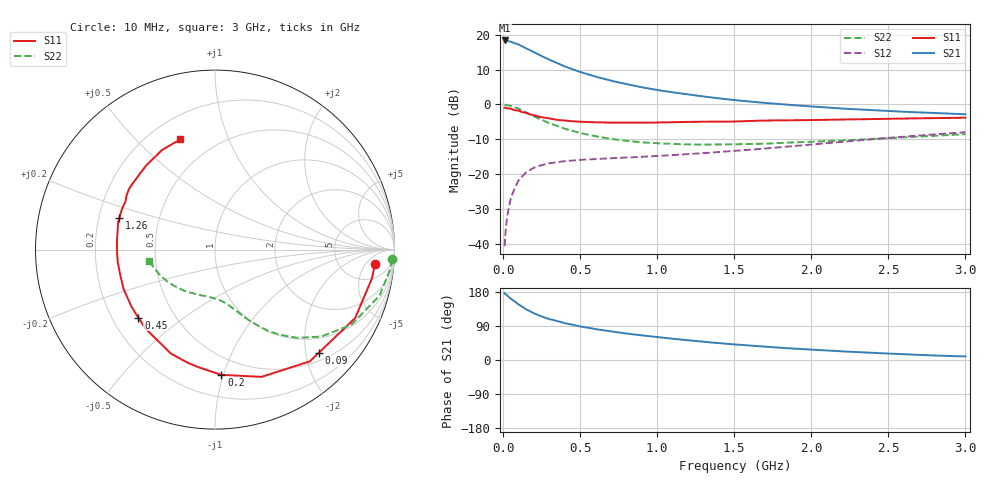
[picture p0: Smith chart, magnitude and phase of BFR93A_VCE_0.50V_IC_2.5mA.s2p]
! (c) 2015  Infineon Technologies AG, Munich
! Infineon Technologies  Discrete & RF Semiconductors
! BFR93A
! VCE = 0.50 V,  IC =  2.5 mA
! Common Emitter S-Parameters:  Nov 2015
# GHz  S  MA  R  50
!  f  S11  S21  S12  S22
! GHz  MAG  ANG  MAG  ANG  MAG  ANG  MAG  ANG
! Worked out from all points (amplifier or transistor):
!   180 points, 10 MHz to 3 GHz, reference 50 ohm
!   highest |S21| = 18.3 dB at 10 MHz (marker M1)
!   |S21| within 3 dB of that: start of sweep to 183.8 MHz
!   unconditionally stable (mu >= 1): 851.3 MHz to end of sweep
!   at 160 MHz: K = 0.24, MSG = 17.6 dB, |S12| = -19.3 dB
!   at 1.22 GHz: K = 1.19, MAG = 5.8 dB, |S12| = -14.2 dB
!   at 3 GHz: K = 1.09, MAG = 0.8 dB, |S12| = -8.0 dB
!   S11 on the Smith chart (normalised r, x): 10 MHz: 11, -9; 90 MHz: 0.66, -2.26; 200 MHz: 0.36, -0.98; 450 MHz: 0.31, -0.35; 1.26 GHz: 0.29, +0.15; 3 GHz: 0.33, +0.68
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0.01  0.8951 -5.3  8.261 176.2  0.0092 87.5  0.9872 -3.2
0.015  0.891 -7.9  8.242 174.3  0.0138 84.8  0.9845 -4.7
0.025  0.881 -13.0  8.168 170.7  0.0226 80.7  0.9758 -7.8
0.05  0.869 -26.0  7.957 161.8  0.0442 75.1  0.9523 -15.6
0.09  0.8153 -44.8  7.348 149.9  0.073 64.3  0.8804 -26.0
0.1  0.8165 -49.7  7.25 146.6  0.0804 62.8  0.8675 -28.9
0.15  0.755 -69.9  6.389 133.5  0.1055 53.0  0.7658 -39.2
0.2  0.6986 -87.1  5.621 123.2  0.1228 46.1  0.6751 -46.8
0.24  0.6611 -98.3  5.06 116.6  0.1318 41.9  0.6122 -51.4
0.3  0.6292 -113.0  4.375 107.9  0.1425 37.4  0.5376 -57.1
0.4  0.5863 -131.5  3.503 97.0  0.1529 32.8  0.4462 -63.7
0.45  0.5709 -138.4  3.2 93.2  0.1562 31.5  0.4166 -65.8
0.52  0.5605 -147.7  2.829 87.3  0.1604 30.1  0.3794 -69.0
0.6  0.5546 -156.6  2.5 81.5  0.1641 29.3  0.3467 -72.4
0.7  0.5466 -165.1  2.182 75.3  0.1683 29.2  0.3192 -76.1
0.9  0.5462 -179.4  1.756 65.0  0.1764 30.3  0.2851 -83.7
1.02  0.5488 173.6  1.581 59.5  0.1823 31.4  0.2749 -88.1
1.26  0.5613 161.7  1.332 49.6  0.1966 33.9  0.2645 -98.3
1.52  0.5685 151.1  1.14 40.6  0.2162 36.6  0.2672 -109.5
2.02  0.5955 134.4  0.926 26.9  0.2673 39.4  0.2913 -130.5
2.52  0.622 120.2  0.799 16.7  0.3326 37.7  0.3286 -151.0
3  0.6431 107.4  0.72 9.4  0.3983 33.0  0.3738 -170.4
